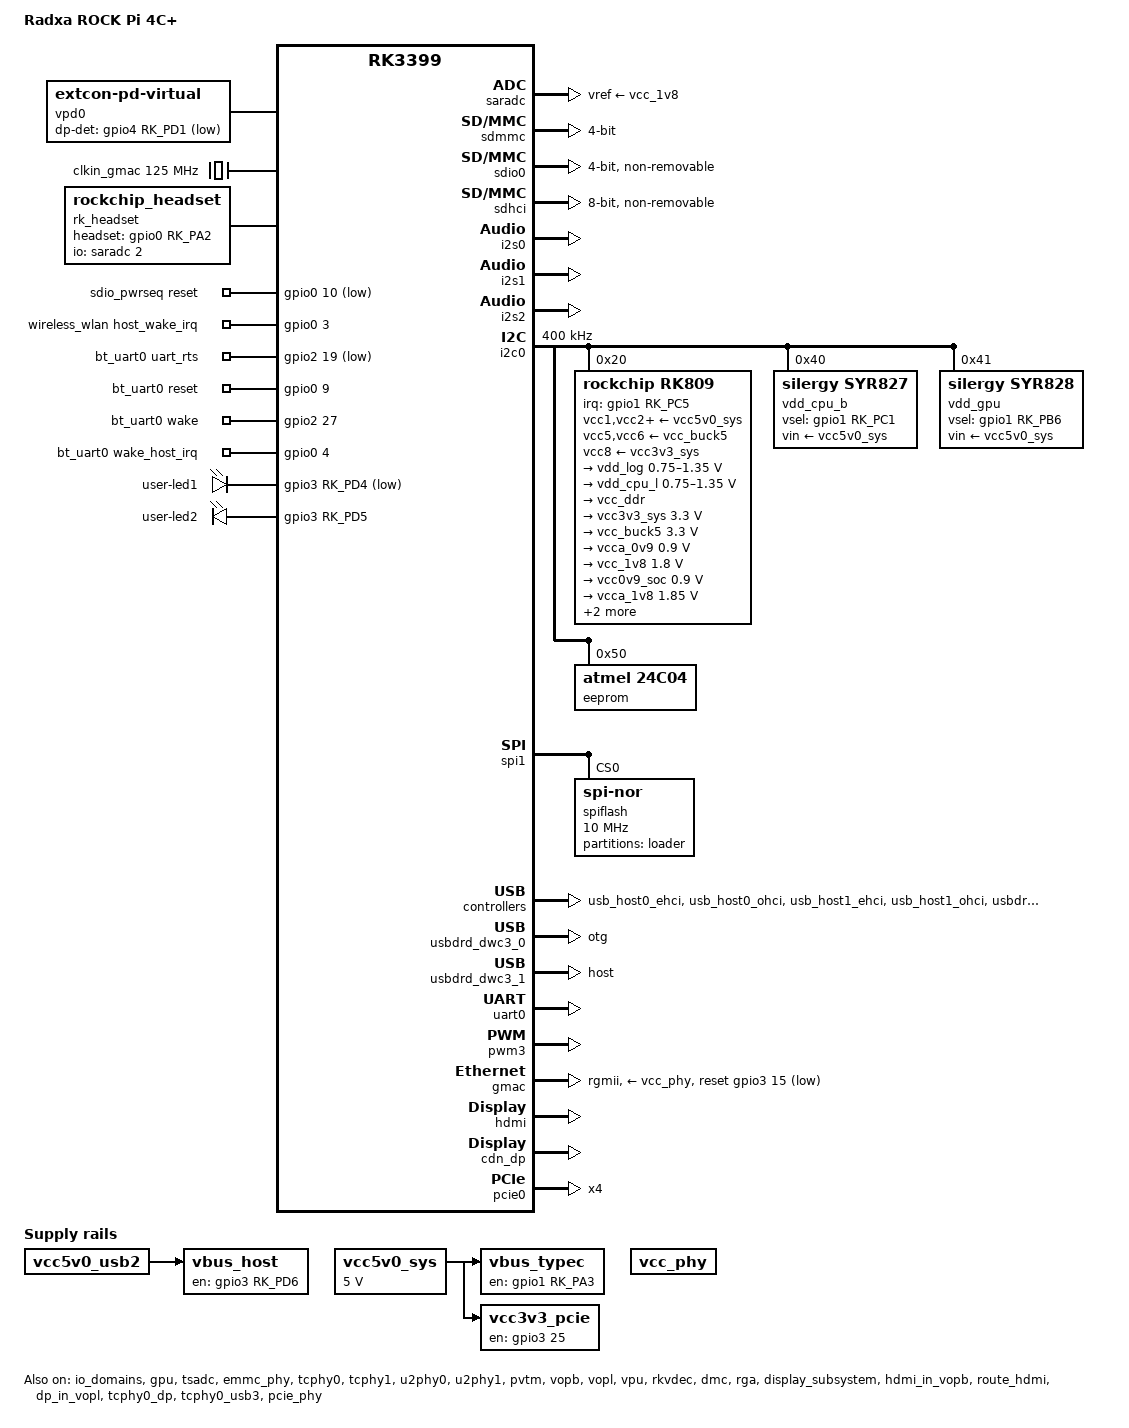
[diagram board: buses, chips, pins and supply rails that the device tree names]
// SPDX-License-Identifier: (GPL-2.0+ OR MIT)
// Copyright (c) 2021 Fuzhou Rockchip Electronics Co., Ltd
// Copyright (c) 2021 Radxa Limited

/dts-v1/;

#include <dt-bindings/pwm/pwm.h>
#include <dt-bindings/input/input.h>
#include "rk3399.dtsi"
#include "rk3399-linux.dtsi"
#include "rk3399-opp.dtsi"
#include <dt-bindings/display/media-bus-format.h>
#include <dt-bindings/gpio/gpio.h>
#include "rock-pi-4c-plus-radxa-10p1inch-display.dtsi"

/ {
	model = "Radxa ROCK Pi 4C+";
	compatible = "radxa,rockpi4c-plus","rockchip,rk3399";

	fiq_debugger: fiq-debugger {
		status = "okay";
		compatible = "rockchip,fiq-debugger";
		rockchip,serial-id = <2>;
		rockchip,signal-irq = <182>;
		rockchip,wake-irq = <0>;
		rockchip,irq-mode-enable = <1>;  /* If enable uart uses irq instead of fiq */
		rockchip,baudrate = <1500000>;  /* Only 115200 and 1500000 */
		pinctrl-names = "default";
		pinctrl-0 = <&uart2c_xfer>;
	};

	vcc5v0_sys: vcc5v0-sys {
		compatible = "regulator-fixed";
		regulator-name = "vcc5v0_sys";
		regulator-always-on;
		regulator-boot-on;
		regulator-min-microvolt = <5000000>;
		regulator-max-microvolt = <5000000>;
	};

	vbus_host: vbus-host {
		compatible = "regulator-fixed";
		enable-active-high;
		gpio = <&gpio3 RK_PD6 GPIO_ACTIVE_HIGH>;
		pinctrl-names = "default";
		pinctrl-0 = <&usb1_en_oc>;
		regulator-name = "vbus_host"; /* HOST-5V */
		regulator-always-on;
		regulator-boot-on;
		vin-supply = <&vcc5v0_usb2>;
	};

	vbus_typec: vbus-typec {
		compatible = "regulator-fixed";
		enable-active-high;
		gpio = <&gpio1 RK_PA3 GPIO_ACTIVE_HIGH>;
		pinctrl-names = "default";
		pinctrl-0 = <&usb0_en_oc>;
		regulator-name = "vbus_typec";
		regulator-always-on;
		regulator-boot-on;
		vin-supply = <&vcc5v0_sys>;
	};

	vpd0: virtual-pd0 {
		compatible = "linux,extcon-pd-virtual";
		dp-det-gpios = <&gpio4 RK_PD1 GPIO_ACTIVE_LOW>;
		/* 0: positive, 1: negative*/
		vpd,init-flip = <0>;
		/* 0: u2, 1: u3*/
		vpd,init-ss = <1>;
		/* 0: dfp, 1: ufp, 2: dp 3: dp/ufp */
		vpd,init-mode = <2>;
	};

	vcc_phy: vcc-phy-regulator {
		compatible = "regulator-fixed";
		regulator-name = "vcc_phy";
		regulator-always-on;
		regulator-boot-on;
	};

	vcc3v3_pcie: vcc3v3-pcie-regulator {
		compatible = "regulator-fixed";
		enable-active-high;
		gpio = <&gpio3 25 GPIO_ACTIVE_HIGH>;
		pinctrl-names = "default";
		pinctrl-0 = <&pcie_drv>;
		regulator-boot-on;
		regulator-always-on;
		regulator-name = "vcc3v3_pcie";
		vin-supply = <&vcc5v0_sys>;
	};

	clkin_gmac: external-gmac-clock {
		compatible = "fixed-clock";
		clock-frequency = <125000000>;
		clock-output-names = "clkin_gmac";
		#clock-cells = <0>;
	};

	hdmi_codec: hdmi-codec {
		status = "okay";
		compatible = "simple-audio-card";
		simple-audio-card,format = "i2s";
		simple-audio-card,mclk-fs = <256>;
		simple-audio-card,name = "HDMI-CODEC";

		simple-audio-card,cpu {
			sound-dai = <&i2s2>;
		};

		simple-audio-card,codec {
			sound-dai = <&hdmi>;
		};
	};

	rk809_sound: rk809-sound {
		status = "okay";
		compatible = "simple-audio-card";
		simple-audio-card,format = "i2s";
		simple-audio-card,name = "rockchip,rk809-codec";
		simple-audio-card,mclk-fs = <256>;
		simple-audio-card,widgets =
			"Microphone", "Mic Jack",
			"Headphone", "Headphone Jack";
		simple-audio-card,routing =
			"Mic Jack", "MICBIAS1",
			"IN1P", "Mic Jack",
			"Headphone Jack", "HPOL",
			"Headphone Jack", "HPOR";
		simple-audio-card,cpu {
			sound-dai = <&i2s0>;
		};
		simple-audio-card,codec {
			sound-dai = <&rk809_codec>;
		};
	};

	rk_headset: rk-headset {
		status = "okay";
		compatible = "rockchip_headset";
		headset_gpio = <&gpio0 RK_PA2 GPIO_ACTIVE_HIGH>;
		pinctrl-names = "default";
		pinctrl-0 = <&hp_det>;
		io-channels = <&saradc 2>;
	};

	sdio_pwrseq: sdio-pwrseq {
		compatible = "mmc-pwrseq-simple";
		clocks = <&rk809 1>;
		clock-names = "ext_clock";
		pinctrl-names = "default";
		pinctrl-0 = <&wifi_enable_h>;

		/*
		 * On the module itself this is one of these (depending
		 * on the actual card populated):
		 * - SDIO_RESET_L_WL_REG_ON
		 * - PDN (power down when low)
		 */
		reset-gpios = <&gpio0 10 GPIO_ACTIVE_LOW>;
	};

	wireless_wlan: wireless-wlan {
		compatible = "wlan-platdata";
		rockchip,grf = <&grf>;
		wifi_chip_type = "ap6256";
		sdio_vref = <1800>;
		WIFI,host_wake_irq = <&gpio0 3 GPIO_ACTIVE_HIGH>;
		status = "okay";
	};

	bt_uart0: wireless_bluetooth: wireless-bluetooth {
		compatible = "bluetooth-platdata";
		clocks = <&rk809 1>;
		clock-names = "ext_clock";
		/* wifi-bt-power-toggle; */
		uart_rts_gpios = <&gpio2 19 GPIO_ACTIVE_LOW>;
		pinctrl-names = "default", "rts_gpio";
		pinctrl-0 = <&uart0_rts>;
		pinctrl-1 = <&uart0_gpios>;
		/* BT,power_gpio  = <&gpio3 19 GPIO_ACTIVE_HIGH>; */
		BT,reset_gpio    = <&gpio0 9 GPIO_ACTIVE_HIGH>;
		BT,wake_gpio     = <&gpio2 27 GPIO_ACTIVE_HIGH>;
		BT,wake_host_irq = <&gpio0 4 GPIO_ACTIVE_HIGH>;
		status = "okay";
	};

	gpio-leds {
		compatible = "gpio-leds";
		status = "okay";

		user-led1 {
			gpios = <&gpio3 RK_PD4 GPIO_ACTIVE_LOW>;
			linux,default-trigger = "default-on";
			default-state = "on";
		};

		user-led2 {
			gpios = <&gpio3 RK_PD5 GPIO_ACTIVE_HIGH>;
			linux,default-trigger = "heartbeat";
			default-state = "on";
		};
	};
};

&io_domains {
	status = "okay";
	bt656-supply = <&vcc_3v0>; /* bt656_gpio2ab_ms */
	audio-supply = <&vcca_1v8>; /* audio_gpio3d4a_ms */
	sdmmc-supply = <&vccio_sd>; /* sdmmc_gpio4b_ms */
	gpio1830-supply = <&vcc_3v0>; /* gpio1833_gpio4cd_ms */
};

&pmu_io_domains {
	status = "okay";
	pmu1830-supply = <&vcc_3v0>;
};

&cpu_l0 {
	cpu-supply = <&vdd_cpu_l>;
};

&cpu_l1 {
	cpu-supply = <&vdd_cpu_l>;
};

&cpu_l2 {
	cpu-supply = <&vdd_cpu_l>;
};

&cpu_l3 {
	cpu-supply = <&vdd_cpu_l>;
};

&cpu_b0 {
	cpu-supply = <&vdd_cpu_b>;
};

&cpu_b1 {
	cpu-supply = <&vdd_cpu_b>;
};

&gpu {
	status = "okay";
	mali-supply = <&vdd_gpu>;
};

&threshold {
	temperature = <85000>;
};

&target {
	temperature = <100000>;
};

&soc_crit {
	temperature = <105000>;
};

&tsadc {
	/* tshut mode 0:CRU 1:GPIO */
	rockchip,hw-tshut-mode = <1>;
	/* tshut polarity 0:LOW 1:HIGH */
	rockchip,hw-tshut-polarity = <1>;
	rockchip,hw-tshut-temp = <110000>;
	status = "okay";
};

&saradc {
	status = "okay";
	vref-supply = <&vcc_1v8>;
};

&sdmmc {
	supports-sd;
	bus-width = <4>;
	cap-mmc-highspeed;
	cap-sd-highspeed;
	disable-wp;
	num-slots = <1>;
	vqmmc-supply = <&vccio_sd>;
	pinctrl-names = "default";
	pinctrl-0 = <&sdmmc_clk &sdmmc_cmd &sdmmc_cd &sdmmc_bus4>;
	card-detect-delay = <800>;
	status = "okay";
};

&sdio0 {
	max-frequency = <200000000>;
	supports-sdio;
	bus-width = <4>;
	disable-wp;
	cap-sd-highspeed;
	cap-sdio-irq;
	keep-power-in-suspend;
	mmc-pwrseq = <&sdio_pwrseq>;
	non-removable;
	num-slots = <1>;
	pinctrl-names = "default";
	pinctrl-0 = <&sdio0_bus4 &sdio0_cmd &sdio0_clk>;
	sd-uhs-sdr104;
	status = "okay";
};

&emmc_phy {
	status = "okay";
};

&sdhci {
	max-frequency = <150000000>;
	bus-width = <8>;
	mmc-hs400-1_8v;
	supports-emmc;
	non-removable;
	mmc-hs400-enhanced-strobe;
	status = "okay";
};

&i2s0 {
	status = "okay";
	rockchip,i2s-broken-burst-len;
	rockchip,playback-channels = <2>;
	rockchip,capture-channels = <2>;
	#sound-dai-cells = <0>;
	pinctrl-names = "default";
	pinctrl-0 = <&i2s0_8ch_bus>;
};

&i2s1 {
	status = "okay";
	#sound-dai-cells = <0>;
};

&i2s2 {
	status = "okay";
	#sound-dai-cells = <0>;
};

&i2c0 {
	status = "okay";
	i2c-scl-rising-time-ns = <180>;
	i2c-scl-falling-time-ns = <30>;
	clock-frequency = <400000>;

	rk809: pmic@20 {
		compatible = "rockchip,rk809";
		reg = <0x20>;

		interrupt-parent = <&gpio1>;
		interrupts = <RK_PC5 IRQ_TYPE_LEVEL_LOW>;
		pinctrl-names = "default", "pmic-sleep",
				"pmic-power-off", "pmic-reset";
		pinctrl-0 = <&pmic_int_l>;
		pinctrl-1 = <&soc_slppin_slp>, <&rk809_slppin_slp>;
		pinctrl-2 = <&soc_slppin_gpio>, <&rk809_slppin_pwrdn>;
		pinctrl-3 = <&soc_slppin_gpio>, <&rk809_slppin_null>;
		rockchip,system-power-controller;
		pmic-reset-func = <0>;
		wakeup-source;
		#clock-cells = <1>;
		clock-output-names = "rk808-clkout1", "rk808-clkout2";

		vcc1-supply = <&vcc5v0_sys>;
		vcc2-supply = <&vcc5v0_sys>;
		vcc3-supply = <&vcc5v0_sys>;
		vcc4-supply = <&vcc5v0_sys>;
		vcc5-supply = <&vcc_buck5>;
		vcc6-supply = <&vcc_buck5>;
		vcc7-supply = <&vcc5v0_sys>;
		vcc8-supply = <&vcc3v3_sys>;
		vcc9-supply = <&vcc5v0_sys>;

		pwrkey {
			status = "okay";
		};

		rk809_rtc: rtc {
			status = "okay";
		};

		pinctrl_rk8xx: pinctrl_rk8xx {
			gpio-controller;
			#gpio-cells = <2>;

			rk809_slppin_null: rk809_slppin_null {
				pins = "gpio_slp";
				function = "pin_fun0";
			};

			rk809_slppin_slp: rk809_slppin_slp {
				pins = "gpio_slp";
				function = "pin_fun1";
			};

			rk809_slppin_pwrdn: rk809_slppin_pwrdn {
				pins = "gpio_slp";
				function = "pin_fun2";
			};

			rk809_slppin_rst: rk809_slppin_rst {
				pins = "gpio_slp";
				function = "pin_fun3";
			};
		};

		regulators {
			vdd_log: DCDC_REG1 {
				regulator-always-on;
				regulator-boot-on;
				regulator-min-microvolt = <750000>;
				regulator-max-microvolt = <1350000>;
				regulator-initial-mode = <0x2>;
				regulator-name = "vdd_log";
				regulator-state-mem {
					regulator-off-in-suspend;
					regulator-suspend-microvolt = <900000>;
				};
			};

			vdd_cpu_l: DCDC_REG2 {
				regulator-always-on;
				regulator-boot-on;
				regulator-min-microvolt = <750000>;
				regulator-max-microvolt = <1350000>;
				regulator-ramp-delay = <6001>;
				regulator-initial-mode = <0x2>;
				regulator-name = "vdd_cpu_l";
				regulator-state-mem {
					regulator-off-in-suspend;
				};
			};

			vcc_ddr: DCDC_REG3 {
				regulator-always-on;
				regulator-boot-on;
				regulator-name = "vcc_ddr";
				regulator-initial-mode = <0x2>;
				regulator-state-mem {
					regulator-on-in-suspend;
				};
			};

			vcc3v3_sys: DCDC_REG4 {
				regulator-always-on;
				regulator-boot-on;
				regulator-min-microvolt = <3300000>;
				regulator-max-microvolt = <3300000>;
				regulator-initial-mode = <0x2>;
				regulator-name = "vcc3v3_sys";
				regulator-state-mem {
					regulator-on-in-suspend;
					regulator-suspend-microvolt = <3300000>;
				};
			};

			vcc_buck5: DCDC_REG5 {
				regulator-always-on;
				regulator-boot-on;
				regulator-min-microvolt = <3300000>;
				regulator-max-microvolt = <3300000>;
				regulator-name = "vcc_buck5";
				regulator-state-mem {
					regulator-on-in-suspend;
					regulator-suspend-microvolt = <3300000>;
				};
			};

			vcca_0v9: LDO_REG1 {
				regulator-always-on;
				regulator-boot-on;
				regulator-min-microvolt = <900000>;
				regulator-max-microvolt = <900000>;
				regulator-name = "vcca_0v9";
				regulator-state-mem {
					regulator-off-in-suspend;
				};
			};

			vcc_1v8: LDO_REG2 {
				regulator-always-on;
				regulator-boot-on;
				regulator-min-microvolt = <1800000>;
				regulator-max-microvolt = <1800000>;

				regulator-name = "vcc_1v8";
				regulator-state-mem {
					regulator-on-in-suspend;
					regulator-suspend-microvolt = <1800000>;
				};
			};

			vcc0v9_soc: LDO_REG3 {
				regulator-always-on;
				regulator-boot-on;
				regulator-min-microvolt = <900000>;
				regulator-max-microvolt = <900000>;

				regulator-name = "vcc0v9_soc";
				regulator-state-mem {
					regulator-on-in-suspend;
					regulator-suspend-microvolt = <900000>;
				};
			};

			vcca_1v8: LDO_REG4 {
				regulator-always-on;
				regulator-boot-on;
				regulator-min-microvolt = <1850000>;
				regulator-max-microvolt = <1850000>;

				regulator-name = "vcca_1v8";
				regulator-state-mem {
					regulator-off-in-suspend;
				};
			};

			vcc_mipi: LDO_REG5 {
				regulator-always-on;
				regulator-boot-on;
				regulator-min-microvolt = <3000000>;
				regulator-max-microvolt = <3000000>;

				regulator-name = "vcc_mipi";
				regulator-state-mem {
					regulator-off-in-suspend;
				};
			};

			vcc_1v5: LDO_REG6 {
				regulator-always-on;
				regulator-boot-on;
				regulator-min-microvolt = <1500000>;
				regulator-max-microvolt = <1500000>;

				regulator-name = "vcc_1v5";
				regulator-state-mem {
					regulator-off-in-suspend;
				};
			};

			vcc_3v0: LDO_REG7 {
				regulator-always-on;
				regulator-boot-on;
				regulator-min-microvolt = <3000000>;
				regulator-max-microvolt = <3000000>;

				regulator-name = "vcc_3v0";
				regulator-state-mem {
					regulator-off-in-suspend;
				};
			};

			vccio_sd: LDO_REG8 {
				regulator-always-on;
				regulator-boot-on;
				regulator-min-microvolt = <1800000>;
				regulator-max-microvolt = <3300000>;

				regulator-name = "vccio_sd";
				regulator-state-mem {
					regulator-off-in-suspend;
				};
			};

			vcc_cam: LDO_REG9 {
				regulator-always-on;
				regulator-boot-on;
				regulator-min-microvolt = <3300000>;
				regulator-max-microvolt = <3300000>;

				regulator-name = "vcc_cam";
				regulator-state-mem {
					regulator-off-in-suspend;
				};
			};

			vcc5v0_usb2: SWITCH_REG1 {
				regulator-min-microvolt = <5000000>;
				regulator-max-microvolt = <5000000>;

				regulator-name = "vcc5v0_usb2.0";
				regulator-state-mem {
					regulator-on-in-suspend;
					regulator-suspend-microvolt = <5000000>;
				};
			};

			lcd_3v3: SWITCH_REG2 {
				regulator-always-on;
				regulator-boot-on;
				regulator-min-microvolt = <3300000>;
				regulator-max-microvolt = <3300000>;

				regulator-name = "lcd_3v3";
				regulator-state-mem {
					regulator-off-in-suspend;
				};
			};
		};

		rk809_codec: codec {
			#sound-dai-cells = <0>;
			compatible = "rockchip,rk809-codec", "rockchip,rk817-codec";
			clocks = <&cru SCLK_I2S_8CH_OUT>;
			clock-names = "mclk";
			pinctrl-names = "default";
			pinctrl-0 = <&i2s_8ch_mclk>;
			hp-volume = <20>;
			spk-volume = <3>;
			mic-in-differential;
			status = "okay";
		};
	};

	vdd_cpu_b: syr827@40 {
		compatible = "silergy,syr827";
		reg = <0x40>;
		regulator-compatible = "fan53555-reg";
		pinctrl-0 = <&vsel1_gpio>;
		vsel-gpios = <&gpio1 RK_PC1 GPIO_ACTIVE_HIGH>;
		regulator-name = "vdd_cpu_b";
		regulator-min-microvolt = <712500>;
		regulator-max-microvolt = <1500000>;
		regulator-ramp-delay = <1000>;
		fcs,suspend-voltage-selector = <1>;
		regulator-always-on;
		regulator-boot-on;
		vin-supply = <&vcc5v0_sys>;
		regulator-state-mem {
			regulator-off-in-suspend;
		};
	};

	vdd_gpu: syr828@41 {
		compatible = "silergy,syr828";
		reg = <0x41>;
		regulator-compatible = "fan53555-reg";
		pinctrl-0 = <&vsel2_gpio>;
		vsel-gpios = <&gpio1 RK_PB6 GPIO_ACTIVE_HIGH>;
		regulator-name = "vdd_gpu";
		regulator-min-microvolt = <712500>;
		regulator-max-microvolt = <1500000>;
		regulator-ramp-delay = <1000>;
		fcs,suspend-voltage-selector = <1>;
		regulator-always-on;
		regulator-boot-on;
		vin-supply = <&vcc5v0_sys>;
		regulator-initial-mode = <1>; /* 1:force PWM 2:auto */
		regulator-state-mem {
			regulator-off-in-suspend;
		};
	};

	eeprom:	at24c04@50 {
		status = "okay";
		compatible = "atmel,24c04";
		reg = <0x50>;
		pagesize = <8>;
	};
};

&spi1 {
	status = "okay";
	max-freq = <10000000>;
	#address-cells = <1>;
	#size-cells = <0>;

	spiflash: spi-flash@0 {
		#address-cells = <0x1>;
		#size-cells = <1>;
		compatible = "jedec,spi-nor";
		reg = <0x0>;
		spi-max-frequency = <10000000>;
		status = "okay";

		partitions {
			compatible = "fixed-partitions";
			#address-cells = <1>;
			#size-cells = <1>;

			loader@0 {
				label = "loader";
				reg = <0x0 0x400000>;
			};
		};
	};
};

&tcphy0 {
	status = "okay";
};

&tcphy1 {
	status = "okay";
};

&u2phy0 {
	status = "okay";

	u2phy0_otg: otg-port {
		status = "okay";
	};

	u2phy0_host: host-port {
		phy-supply = <&vbus_host>;
		status = "okay";
	};
};

&u2phy1 {
	status = "okay";

	u2phy1_otg: otg-port {
		status = "okay";
	};

	u2phy1_host: host-port {
		phy-supply = <&vbus_host>;
		status = "okay";
	};
};

&usb_host0_ehci {
	status = "okay";
};

&usb_host0_ohci {
	status = "okay";
};

&usb_host1_ehci {
	status = "okay";
};

&usb_host1_ohci {
	status = "okay";
};

&usbdrd3_0 {
	extcon = <&u2phy0>;
	status = "okay";
};

&usbdrd_dwc3_0 {
	dr_mode = "otg";
	status = "okay";
};

&usbdrd3_1 {
	status = "okay";
};

&usbdrd_dwc3_1 {
	dr_mode = "host";
	status = "okay";
};

&uart0 {
	pinctrl-names = "default";
	pinctrl-0 = <&uart0_xfer &uart0_cts>;
	status = "okay";
};

&uart2 {
	status = "disabled";
};

&pwm3 {
	status = "okay";
};

&gmac {
	phy-supply = <&vcc_phy>;
	phy-mode = "rgmii";
	clock_in_out = "input";
	snps,reset-gpio = <&gpio3 15 GPIO_ACTIVE_LOW>;
	snps,reset-active-low;
	/* Reset time is 20ms, 100ms for rtl8211f */
	snps,reset-delays-us = <0 20000 100000>;
	assigned-clocks = <&cru SCLK_RMII_SRC>;
	assigned-clock-parents = <&clkin_gmac>;
	pinctrl-names = "default", "sleep";
	pinctrl-0 = <&rgmii_pins>;
	pinctrl-1 = <&rgmii_sleep_pins>;
	tx_delay = <0x28>;
	rx_delay = <0x11>;
	status = "okay";
};

&pvtm {
	status = "okay";
};

&pmu_pvtm {
	status = "okay";
};

&vopb {
	status = "okay";
};

&vopb_mmu {
	status = "okay";
};

&vopl {
	status = "okay";
};

&vopl_mmu {
	status = "okay";
};

&isp0_mmu {
	status = "okay";
};

&isp1_mmu {
	status = "okay";
};

&vpu {
	status = "okay";
	/* 0 means ion, 1 means drm */
	//allocator = <0>;
};

&rkvdec {
	status = "okay";
	/* 0 means ion, 1 means drm */
	//allocator = <0>;
};

&dmc {
	status = "okay";
};

&rga {
	status = "okay";
};

&display_subsystem {
	status = "okay";
};

&hdmi {
	#address-cells = <1>;
	#size-cells = <0>;
	#sound-dai-cells = <0>;
	pinctrl-names = "default";
	pinctrl-0 = <&hdmi_i2c_xfer>, <&hdmi_cec>;
	status = "okay";
};

&hdmi_in_vopl {
	status = "disabled";
};

&hdmi_in_vopb {
	status = "okay";
};

&route_hdmi {
	status = "okay";
	connect = <&vopb_out_hdmi>;
};

&backlight {
	status = "disabled";
};

&pwm2 {
	status = "disabled";
};

&dsi{
	status = "disabled";
};

&dsi_panel {
	status = "disabled";
};

&vopb_out_dsi {
	status = "disabled";
};

&vopl_out_dsi {
	status = "disabled";
};

&dsi_in_vopb {
	status = "disabled";
};

&dsi_in_vopl {
	status = "disabled";
};

&route_dsi {
	status = "disabled";
	connect = <&vopl_out_dsi>;
};

&cdn_dp {
	status = "okay";
	extcon = <&vpd0>;
//	dp_vop_sel = <0>;
//	phys = <&tcphy0_dp>;
};

&tcphy0 {
	extcon = <&vpd0>;
	status = "okay";
};

&dp_in_vopb {
	status = "disabled";
};

&dp_in_vopl {
	status = "okay";
};

&tcphy0_dp {
	status = "okay";
};

&tcphy0_usb3 {
	status = "okay";
};

//HDMI is bound to vopb:
&vopb {
	status = "okay";
	assigned-clocks = <&cru DCLK_VOP0_DIV>;
	assigned-clock-parents = <&cru PLL_VPLL>;
};

&vopl {
	status = "okay";
	assigned-clocks = <&cru DCLK_VOP1_DIV>;
	assigned-clock-parents = <&cru PLL_CPLL>;
};

&pcie_phy {
	status = "okay";
};

&pcie0 {
	ep-gpios = <&gpio1 1 GPIO_ACTIVE_HIGH>;
	num-lanes = <4>;
	pinctrl-names = "default";
	pinctrl-0 = <&pcie_clkreqnb_cpm>;
	status = "okay";
};

&rockchip_suspend {
	status = "okay";
	rockchip,sleep-debug-en = <0>;
	rockchip,sleep-mode-config = <
		(0
		| RKPM_SLP_ARMPD
		| RKPM_SLP_PERILPPD
		| RKPM_SLP_DDR_RET
		| RKPM_SLP_PLLPD
		| RKPM_SLP_CENTER_PD
		| RKPM_SLP_AP_PWROFF
		)
	>;
	rockchip,wakeup-config = <
		(0
		| RKPM_GPIO_WKUP_EN
		| RKPM_PWM_WKUP_EN
		)
	>;
	rockchip,pwm-regulator-config = <
		(0
		| PWM2_REGULATOR_EN
		)
	>;
	rockchip,power-ctrl =
		<&gpio1 17 GPIO_ACTIVE_HIGH>,
		<&gpio1 14 GPIO_ACTIVE_HIGH>;
};

&pinctrl {

	pmic {
		pmic_int_l: pmic-int-l {
			rockchip,pins =
				<1 RK_PC5 0 &pcfg_pull_up>;
		};

		vsel1_gpio: vsel1-gpio {
			rockchip,pins =
				<1 RK_PC1 0 &pcfg_pull_down>;
		};

		vsel2_gpio: vsel2-gpio {
			rockchip,pins =
				<1 RK_PB6 0 &pcfg_pull_down>;
		};

		soc_slppin_gpio: soc-slppin-gpio {
			rockchip,pins =
				<1 RK_PA5 0 &pcfg_output_low>;
		};

		soc_slppin_slp: soc-slppin-slp {
			rockchip,pins =
				<1 RK_PA5 1 &pcfg_pull_down>;
		};

		soc_slppin_rst: soc-slppin-rst {
			rockchip,pins =
				<1 RK_PA5 2 &pcfg_pull_none>;
		};
	};

	vbus_host {
		usb1_en_oc: usb1-en-oc {
			rockchip,pins = <3 RK_PD6 RK_FUNC_GPIO &pcfg_pull_up>;
		};
	};

	vbus_typec {
		usb0_en_oc: usb0-en-oc {
			rockchip,pins = <1 RK_PA3 RK_FUNC_GPIO &pcfg_pull_up>;
		};
	};

	gmac {
		rgmii_sleep_pins: rgmii-sleep-pins {
			rockchip,pins =
				<3 15 RK_FUNC_GPIO &pcfg_output_low>;
		};
	};

	headphone {
		hp_det: hp-det {
			rockchip,pins =
				<0 2 RK_FUNC_GPIO &pcfg_pull_up>;
		};
	};

	sdio0 {
		sdio0_bus1: sdio0-bus1 {
			rockchip,pins =
				<2 20 RK_FUNC_1 &pcfg_pull_up_20ma>;
		};

		sdio0_bus4: sdio0-bus4 {
			rockchip,pins =
				<2 20 RK_FUNC_1 &pcfg_pull_up_20ma>,
				<2 21 RK_FUNC_1 &pcfg_pull_up_20ma>,
				<2 22 RK_FUNC_1 &pcfg_pull_up_20ma>,
				<2 23 RK_FUNC_1 &pcfg_pull_up_20ma>;
		};

		sdio0_cmd: sdio0-cmd {
			rockchip,pins =
				<2 24 RK_FUNC_1 &pcfg_pull_up_20ma>;
		};

		sdio0_clk: sdio0-clk {
			rockchip,pins =
				<2 25 RK_FUNC_1 &pcfg_pull_none_20ma>;
		};
	};

	sdmmc {
		sdmmc_bus1: sdmmc-bus1 {
			rockchip,pins =
				<4 8 RK_FUNC_1 &pcfg_pull_up_8ma>;
		};

		sdmmc_bus4: sdmmc-bus4 {
			rockchip,pins =
				<4 8 RK_FUNC_1 &pcfg_pull_up_8ma>,
				<4 9 RK_FUNC_1 &pcfg_pull_up_8ma>,
				<4 10 RK_FUNC_1 &pcfg_pull_up_8ma>,
				<4 11 RK_FUNC_1 &pcfg_pull_up_8ma>;
		};

		sdmmc_clk: sdmmc-clk {
			rockchip,pins =
				<4 12 RK_FUNC_1 &pcfg_pull_none_18ma>;
		};

		sdmmc_cmd: sdmmc-cmd {
			rockchip,pins =
				<4 13 RK_FUNC_1 &pcfg_pull_up_8ma>;
		};
	};

	sdio-pwrseq {
		wifi_enable_h: wifi-enable-h {
			rockchip,pins =
				<0 10 RK_FUNC_GPIO &pcfg_pull_none>;
		};
	};

	wireless-bluetooth {
		uart0_gpios: uart0-gpios {
			rockchip,pins =
				<2 19 RK_FUNC_GPIO &pcfg_pull_none>;
		};
	};

	i2s0 {
		i2s0_8ch_bus: i2s0-8ch-bus {
			rockchip,pins =
				<3 24 RK_FUNC_1 &pcfg_pull_none>,
				<3 26 RK_FUNC_1 &pcfg_pull_none>,
				<3 27 RK_FUNC_1 &pcfg_pull_none>,
				<3 31 RK_FUNC_1 &pcfg_pull_none>;
		};

		i2s_8ch_mclk: i2s-8ch-mclk {
			rockchip,pins =
				<4 0 RK_FUNC_1 &pcfg_pull_none>;
		};
	};

	pcie {
		pcie_drv: pcie-drv {
			rockchip,pins =
				<3 RK_PD1 RK_FUNC_GPIO &pcfg_pull_none>;
		};
	};

};
